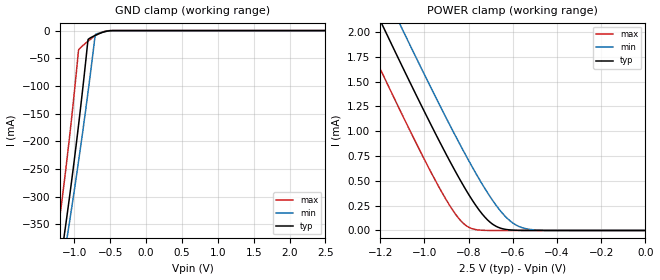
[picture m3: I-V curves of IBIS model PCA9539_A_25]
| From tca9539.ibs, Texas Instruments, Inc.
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[Model]   PCA9539_A_25
Model_type  Input
Vinl=0.69
Vinh=1.89
| variable   typ   min   max
C_comp   1.93pF   1.64pF   3.08pF
[Temperature Range]   40   100   -40
| Ambient temperature   25   85   -40
[Voltage range]   2.5   2.3   2.7
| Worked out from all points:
|   GND clamp passes 1 mA (typ) near -0.55 V on its own axis
|   POWER clamp passes 1 mA (typ) near -0.96 V on its own axis
[GND Clamp]
| PCA9539_A_25
|   Voltage   I(typ)   I(min)   I(max)
-5.5V     -1.952A    -1.991A    -1.822A
-1.245V   -460.3mA   -486mA     -375.9mA
-1.21V    -430.2mA   -459.1mA   -342.1mA
-1.14V    -367.5mA   -403.8mA   -270.6mA
-1.105V   -334.8mA   -375.4mA   -232.7mA
-1.085V   -315.7mA   -358.8mA   -210.3mA
-1.02V    -251.5mA   -303.9mA   -133.8mA
-945mV    -172.6mA   -237.7mA   -36.94mA
-810mV    -16.02mA   -110.1mA   -19.15mA
-710mV    -8.623mA   -7.36mA    -9.218mA
-505mV    -240uA     -374.5uA   -17.49uA
2.5V      65.27pA    853.9pA    39.07pA
[POWER Clamp]
| PCA9539_A_25
|   Voltage   I(typ)   I(min)   I(max)
-5.5V     23.22mA    23.56mA    22.79mA
-1.315V   2.658mA    3.034mA    2.172mA
-1.25V    2.35mA     2.727mA    1.863mA
-1.195V   2.092mA    2.469mA    1.605mA
-1.095V   1.628mA    2.005mA    1.141mA
-935mV    911uA      1.281mA    441.2uA
-835mV    496.2uA    849.9uA    97.5uA
-785mV    311.2uA    645.8uA    18.53uA
-715mV    108uA      382.7uA    733.7nA
-610mV    5.103uA    92.47uA    4.544nA
-490mV    68.86nA    4.139uA    69.34pA
-95.1fV   65.27pA    211.5pA    44.72pA
